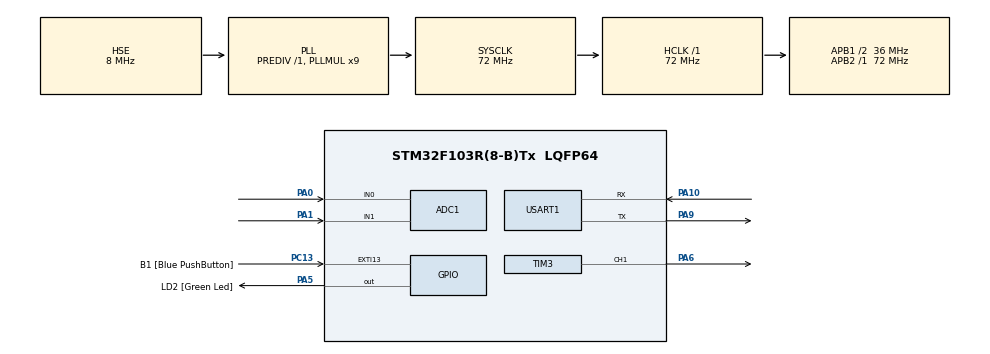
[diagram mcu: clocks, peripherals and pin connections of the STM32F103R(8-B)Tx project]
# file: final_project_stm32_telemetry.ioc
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ADC1.Channel-0\#ChannelRegularConversion=ADC_CHANNEL_0
ADC1.NbrOfConversionFlag=1
ADC1.Rank-0\#ChannelRegularConversion=1
ADC1.SamplingTime-0\#ChannelRegularConversion=ADC_SAMPLETIME_1CYCLE_5
ADC1.master=1
Mcu.Family=STM32F1
Mcu.Name=STM32F103R(8-B)Tx
Mcu.Package=LQFP64
NVIC.EXTI15_10_IRQn=true\:0\:0\:false\:false\:true\:true\:true\:true
NVIC.PriorityGroup=NVIC_PRIORITYGROUP_4
PA0-WKUP.Signal=ADCx_IN0
PA1.Signal=ADCx_IN1
PA10.Mode=Asynchronous
PA10.Signal=USART1_RX
PA13.GPIO_Label=TMS
PA13.Mode=Serial_Wire
PA13.Signal=SYS_JTMS-SWDIO
PA14.GPIO_Label=TCK
PA14.Mode=Serial_Wire
PA14.Signal=SYS_JTCK-SWCLK
PA2.GPIO_Label=USART_TX
PA2.GPIO_Mode=GPIO_MODE_AF_PP
PA2.GPIO_PuPd=GPIO_NOPULL
PA2.GPIO_Speed=GPIO_SPEED_FREQ_LOW
PA2.Signal=USART2_TX
PA3.GPIO_Label=USART_RX
PA3.GPIO_Mode=GPIO_MODE_AF_PP
PA3.GPIO_PuPd=GPIO_NOPULL
PA3.GPIO_Speed=GPIO_SPEED_FREQ_LOW
PA3.Signal=USART2_RX
PA5.GPIO_Label=LD2 [Green Led]
PA5.GPIO_ModeDefaultOutputPP=GPIO_MODE_OUTPUT_PP
PA5.GPIO_PuPd=GPIO_NOPULL
PA5.GPIO_Speed=GPIO_SPEED_FREQ_LOW
PA5.Signal=GPIO_Output
PA6.Signal=S_TIM3_CH1
PA9.Mode=Asynchronous
PA9.Signal=USART1_TX
PB3.GPIO_Label=SWO
PB3.Signal=SYS_JTDO-TRACESWO
PC13-TAMPER-RTC.GPIO_Label=B1 [Blue PushButton]
PC13-TAMPER-RTC.GPIO_PuPd=GPIO_NOPULL
PC13-TAMPER-RTC.Signal=GPXTI13
PC14-OSC32_IN.Mode=LSE-External-Oscillator
PC14-OSC32_IN.Signal=RCC_OSC32_IN
PC15-OSC32_OUT.Mode=LSE-External-Oscillator
PC15-OSC32_OUT.Signal=RCC_OSC32_OUT
PD0-OSC_IN.Mode=HSE-External-Clock-Source
PD0-OSC_IN.Signal=RCC_OSC_IN
PD1-OSC_OUT.Mode=HSE-External-Clock-Source
PD1-OSC_OUT.Signal=RCC_OSC_OUT
ProjectManager.HeapSize=0x200
ProjectManager.StackSize=0x400
ProjectManager.TargetToolchain=STM32CubeIDE
RCC.ADCPresc=RCC_ADCPCLK2_DIV6
RCC.AHBFreq_Value=72000000
RCC.APB1CLKDivider=RCC_HCLK_DIV2
RCC.APB1Freq_Value=36000000
RCC.APB1TimFreq_Value=72000000
RCC.APB2Freq_Value=72000000
RCC.APB2TimFreq_Value=72000000
RCC.HCLKFreq_Value=72000000
RCC.PLLMUL=RCC_PLL_MUL9
RCC.PLLSourceVirtual=RCC_PLLSOURCE_HSE
RCC.RTCClockSelection=RCC_RTCCLKSOURCE_LSE
RCC.SYSCLKFreq_VALUE=72000000
RCC.SYSCLKSource=RCC_SYSCLKSOURCE_PLLCLK
RCC.USBFreq_Value=72000000
SH.ADCx_IN0.0=ADC1_IN0,IN0
SH.ADCx_IN1.0=ADC1_IN1,IN1
SH.S_TIM3_CH1.0=TIM3_CH1,PWM Generation1 CH1
TIM3.Channel-PWM\ Generation1\ CH1=TIM_CHANNEL_1
TIM3.Period=999
TIM3.Prescaler=71
USART1.VirtualMode=VM_ASYNC
board=NUCLEO-F103RB

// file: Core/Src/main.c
/* USER CODE BEGIN Header */
/**
  ******************************************************************************
  * @file           : main.c
  * @brief          : Main program body
  *
  * This firmware reads a potentiometer using the ADC and uses the potentiometer
  * position to control the PWM duty cycle driving a fan. It also sends
  * telemetry over UART so the host can monitor voltage, potentiometer position,
  * and PWM output in real time.
  ******************************************************************************
  * @attention
  *
  * Copyright (c) 2026 STMicroelectronics.
  * All rights reserved.
  *
  * This software is licensed under terms that can be found in the LICENSE file
  * in the root directory of this software component.
  * If no LICENSE file comes with this software, it is provided AS-IS.
  *
  ******************************************************************************
  */
/* USER CODE END Header */

#include "main.h"

/* USER CODE BEGIN Includes */
#include <stdio.h>
#include <string.h>
/* USER CODE END Includes */

/* USER CODE BEGIN PD */
#define VREF                     3.3f
#define ADC_MAX                  4095.0f

// PWM and telemetry timing
#define PWM_FREQ_HZ              1000U
#define TELEMETRY_PERIOD_MS      100U

/* USER CODE END PD */

ADC_HandleTypeDef hadc1;   // ADC for analog measurements

TIM_HandleTypeDef htim3;   // Timer used for PWM generation

UART_HandleTypeDef huart1; // UART used for telemetry output

/* USER CODE BEGIN PV */
static char uart_msg[160];
static float pwm_pct = 0.0f;
/* USER CODE END PV */

void SystemClock_Config(void);
static void MX_GPIO_Init(void);
static void MX_ADC1_Init(void);
static void MX_TIM3_Init(void);
static void MX_USART1_UART_Init(void);

/* USER CODE BEGIN PFP */

// helpers functions
static uint32_t read_adc_channel(uint32_t channel);
static float adc_to_volts(uint32_t raw);
static float read_voltage_v(void);
static float read_pot_voltage_v(void);
static float read_pot_percent(void);
static void set_pwm_percent(float pct);
static void uart_send_line(const char *s);

/* USER CODE END PFP */

/* USER CODE BEGIN 0 */

/**
  * @brief Reads one ADC channel using polling.
  * @param channel ADC channel to read.
  * @retval Raw 12-bit ADC value (0 to 4095).
  * This helper reconfigures ADC1 each time so the same ADC can read
  * multiple analog inputs one at a time.
  */
static uint32_t read_adc_channel(uint32_t channel)
{
    ADC_ChannelConfTypeDef sConfig = {0};

    // Select which ADC channel to sample
    sConfig.Channel = channel;
    sConfig.Rank = ADC_REGULAR_RANK_1;
    sConfig.SamplingTime = ADC_SAMPLETIME_71CYCLES_5;

    if (HAL_ADC_ConfigChannel(&hadc1, &sConfig) != HAL_OK)
    {
        Error_Handler();
    }

    // Start conversion
    if (HAL_ADC_Start(&hadc1) != HAL_OK)
    {
        Error_Handler();
    }

    // Wait until the conversion finishes
    if (HAL_ADC_PollForConversion(&hadc1, HAL_MAX_DELAY) != HAL_OK)
    {
        Error_Handler();
    }

    // Read the conversion result
    uint32_t raw = HAL_ADC_GetValue(&hadc1);

    // Stop ADC after the one-shot conversion
    if (HAL_ADC_Stop(&hadc1) != HAL_OK)
    {
        Error_Handler();
    }

    return raw;
}

/**
  * @brief Converts a raw ADC count into volts.
  * @param raw 12-bit ADC result.
  * @retval Voltage at the ADC pin.
  *
  * Formula:
  * volts = raw * VREF / ADC_MAX
  */
static float adc_to_volts(uint32_t raw)
{
    return ((float)raw * VREF) / ADC_MAX;
}

// Reads a voltage on ADC channel 0.
// Voltage in volts.
static float read_voltage_v(void)
{
    uint32_t raw = read_adc_channel(ADC_CHANNEL_0);
    float adc_v = adc_to_volts(raw);
    return adc_v;
}

/**
  * @brief Reads potentiometer wiper voltage from ADC channel 1.
  * @retval Potentiometer voltage in volts.
  */
static float read_pot_voltage_v(void)
{
    uint32_t raw = read_adc_channel(ADC_CHANNEL_1);
    return adc_to_volts(raw);
}

/**
  * @brief Converts potentiometer voltage into 0 to 100 percent.
  * @retval Potentiometer position as a percentage.
  * 0 V   -> 0%
  * 3.3 V -> 100%
  */
static float read_pot_percent(void)
{
    float pot_v = read_pot_voltage_v();
    float pct = (pot_v / VREF) * 100.0f;

    // Clamp result for safety
    if (pct < 0.0f)
    {
        pct = 0.0f;
    }
    if (pct > 100.0f)
    {
        pct = 100.0f;
    }

    return pct;
}

/**
  * @brief Sets PWM duty cycle as a percentage.
  * @param pct Duty cycle from 0 to 100.
  * This converts a percent into the timer compare value
  * used by the STM32 PWM hardware.
  */
static void set_pwm_percent(float pct)
{
    if (pct < 0.0f)
    {
        pct = 0.0f;
    }
    if (pct > 100.0f)
    {
        pct = 100.0f;
    }

    // Save current PWM percentage so telemetry reports the same value
    pwm_pct = pct;

    // ARR determines the PWM period
    uint32_t arr = __HAL_TIM_GET_AUTORELOAD(&htim3);

    // Convert percent into compare value
    uint32_t compare = (uint32_t)((pct / 100.0f) * (float)(arr + 1U));

    // Update timer compare register
    __HAL_TIM_SET_COMPARE(&htim3, TIM_CHANNEL_1, compare);
}

/**
  * @brief Sends a text line over UART.
  * UART is used here for simple CSV telemetry output that can be parsed by
  * Pi 4.
  */
static void uart_send_line(const char *s)
{
    if (HAL_UART_Transmit(&huart1, (uint8_t *)s, strlen(s), HAL_MAX_DELAY) != HAL_OK)
    {
        Error_Handler();
    }
}
/* USER CODE END 0 */
int main(void)
{

  /* MCU Configuration--------------------------------------------------------*/

  /* Reset all peripherals and initialize HAL */
  HAL_Init();

  /* Configure the system clock */
  SystemClock_Config();

  /* Initialize all configured peripherals */
  MX_GPIO_Init();
  MX_ADC1_Init();
  MX_TIM3_Init();
  MX_USART1_UART_Init();

  /* USER CODE BEGIN 2 */

  // Start PWM output
  if (HAL_TIM_PWM_Start(&htim3, TIM_CHANNEL_1) != HAL_OK)
  {
      Error_Handler();
  }

  // Start fan at 0% until potentiometer is read
  set_pwm_percent(0.0f);

  // Send startup text and CSV header
  uart_send_line("# STM32 fan control telemetry start\r\n");
  uart_send_line("t_s,voltage_v,pot_voltage_v,pot_percent,pwm_pct,pwm_freq_hz\r\n");

  /* USER CODE END 2 */

  /* Infinite loop */
  /* USER CODE BEGIN WHILE */
  while (1)
  {
    // Time since boot in seconds
    float t_s = HAL_GetTick() / 1000.0f;

    // Read adc measurements */
    float voltage_v = read_voltage_v();
    float pot_voltage_v = read_pot_voltage_v();
    float pot_percent = read_pot_percent();

//      Fan control behavior:
//      The potentiometer directly controls PWM duty cycle.
//      More potentiometer voltage means higher PWM duty cycle means faster fan.
    set_pwm_percent(pot_percent);

    // Format telemetry as CSV
    snprintf(uart_msg, sizeof(uart_msg),
             "%.3f,%.3f,%.3f,%.1f,%.1f,%lu\r\n",
             t_s,
             voltage_v,
             pot_voltage_v,
             pot_percent,
             pwm_pct,
             (unsigned long)PWM_FREQ_HZ);

    // Send telemetry line
    uart_send_line(uart_msg);

    // Update every 100 ms
    HAL_Delay(TELEMETRY_PERIOD_MS);

    /* USER CODE END WHILE */

  }
}

void SystemClock_Config(void)
{
  RCC_OscInitTypeDef RCC_OscInitStruct = {0};
  RCC_ClkInitTypeDef RCC_ClkInitStruct = {0};
  RCC_PeriphCLKInitTypeDef PeriphClkInit = {0};

  RCC_OscInitStruct.OscillatorType = RCC_OSCILLATORTYPE_HSE;
  RCC_OscInitStruct.HSEState = RCC_HSE_BYPASS;
  RCC_OscInitStruct.HSEPredivValue = RCC_HSE_PREDIV_DIV1;
  RCC_OscInitStruct.HSIState = RCC_HSI_ON;
  RCC_OscInitStruct.PLL.PLLState = RCC_PLL_ON;
  RCC_OscInitStruct.PLL.PLLSource = RCC_PLLSOURCE_HSE;
  RCC_OscInitStruct.PLL.PLLMUL = RCC_PLL_MUL9;
  if (HAL_RCC_OscConfig(&RCC_OscInitStruct) != HAL_OK)
  {
    Error_Handler();
  }

  /* Set AHB/APB clocks */
  RCC_ClkInitStruct.ClockType = RCC_CLOCKTYPE_HCLK|RCC_CLOCKTYPE_SYSCLK
                              |RCC_CLOCKTYPE_PCLK1|RCC_CLOCKTYPE_PCLK2;
  RCC_ClkInitStruct.SYSCLKSource = RCC_SYSCLKSOURCE_PLLCLK;
  RCC_ClkInitStruct.AHBCLKDivider = RCC_SYSCLK_DIV1;
  RCC_ClkInitStruct.APB1CLKDivider = RCC_HCLK_DIV2;
  RCC_ClkInitStruct.APB2CLKDivider = RCC_HCLK_DIV1;

  if (HAL_RCC_ClockConfig(&RCC_ClkInitStruct, FLASH_LATENCY_2) != HAL_OK)
  {
    Error_Handler();
  }

  /* ADC clock divider */
  PeriphClkInit.PeriphClockSelection = RCC_PERIPHCLK_ADC;
  PeriphClkInit.AdcClockSelection = RCC_ADCPCLK2_DIV6;
  if (HAL_RCCEx_PeriphCLKConfig(&PeriphClkInit) != HAL_OK)
  {
    Error_Handler();
  }
}

static void MX_ADC1_Init(void)
{
  ADC_ChannelConfTypeDef sConfig = {0};

  hadc1.Instance = ADC1;
  hadc1.Init.ScanConvMode = ADC_SCAN_DISABLE;
  hadc1.Init.ContinuousConvMode = DISABLE;
  hadc1.Init.DiscontinuousConvMode = DISABLE;
  hadc1.Init.ExternalTrigConv = ADC_SOFTWARE_START;
  hadc1.Init.DataAlign = ADC_DATAALIGN_RIGHT;
  hadc1.Init.NbrOfConversion = 1;
  if (HAL_ADC_Init(&hadc1) != HAL_OK)
  {
    Error_Handler();
  }

  /*
   * Initial channel configuration.
   * The actual channel used at runtime is selected in read_adc_channel().
   */
  sConfig.Channel = ADC_CHANNEL_0;
  sConfig.Rank = ADC_REGULAR_RANK_1;
  sConfig.SamplingTime = ADC_SAMPLETIME_1CYCLE_5;
  if (HAL_ADC_ConfigChannel(&hadc1, &sConfig) != HAL_OK)
  {
    Error_Handler();
  }
}

static void MX_TIM3_Init(void)
{
  TIM_MasterConfigTypeDef sMasterConfig = {0};
  TIM_OC_InitTypeDef sConfigOC = {0};

  htim3.Instance = TIM3;
  htim3.Init.Prescaler = 71;
  htim3.Init.CounterMode = TIM_COUNTERMODE_UP;
  htim3.Init.Period = 999;
  htim3.Init.ClockDivision = TIM_CLOCKDIVISION_DIV1;
  htim3.Init.AutoReloadPreload = TIM_AUTORELOAD_PRELOAD_DISABLE;
  if (HAL_TIM_PWM_Init(&htim3) != HAL_OK)
  {
    Error_Handler();
  }

  sMasterConfig.MasterOutputTrigger = TIM_TRGO_RESET;
  sMasterConfig.MasterSlaveMode = TIM_MASTERSLAVEMODE_DISABLE;
  if (HAL_TIMEx_MasterConfigSynchronization(&htim3, &sMasterConfig) != HAL_OK)
  {
    Error_Handler();
  }

  sConfigOC.OCMode = TIM_OCMODE_PWM1;
  sConfigOC.Pulse = 0;
  sConfigOC.OCPolarity = TIM_OCPOLARITY_HIGH;
  sConfigOC.OCFastMode = TIM_OCFAST_DISABLE;
  if (HAL_TIM_PWM_ConfigChannel(&htim3, &sConfigOC, TIM_CHANNEL_1) != HAL_OK)
  {
    Error_Handler();
  }

  HAL_TIM_MspPostInit(&htim3);
}

static void MX_USART1_UART_Init(void)
{
  huart1.Instance = USART1;
  huart1.Init.BaudRate = 115200;
  huart1.Init.WordLength = UART_WORDLENGTH_8B;
  huart1.Init.StopBits = UART_STOPBITS_1;
  huart1.Init.Parity = UART_PARITY_NONE;
  huart1.Init.Mode = UART_MODE_TX_RX;
  huart1.Init.HwFlowCtl = UART_HWCONTROL_NONE;
  huart1.Init.OverSampling = UART_OVERSAMPLING_16;
  if (HAL_UART_Init(&huart1) != HAL_OK)
  {
    Error_Handler();
  }
}

static void MX_GPIO_Init(void)
{
  GPIO_InitTypeDef GPIO_InitStruct = {0};

  /* GPIO Ports Clock Enable */
  __HAL_RCC_GPIOC_CLK_ENABLE();
  __HAL_RCC_GPIOD_CLK_ENABLE();
  __HAL_RCC_GPIOA_CLK_ENABLE();
  __HAL_RCC_GPIOB_CLK_ENABLE();

  /* Configure LED default state */
  HAL_GPIO_WritePin(LD2_GPIO_Port, LD2_Pin, GPIO_PIN_RESET);

  /* Configure push button */
  GPIO_InitStruct.Pin = B1_Pin;
  GPIO_InitStruct.Mode = GPIO_MODE_IT_RISING;
  GPIO_InitStruct.Pull = GPIO_NOPULL;
  HAL_GPIO_Init(B1_GPIO_Port, &GPIO_InitStruct);

  /* Configure UART pins */
  GPIO_InitStruct.Pin = USART_TX_Pin | USART_RX_Pin;
  GPIO_InitStruct.Mode = GPIO_MODE_AF_PP;
  GPIO_InitStruct.Speed = GPIO_SPEED_FREQ_LOW;
  HAL_GPIO_Init(GPIOA, &GPIO_InitStruct);

  /* Configure LED pin */
  GPIO_InitStruct.Pin = LD2_Pin;
  GPIO_InitStruct.Mode = GPIO_MODE_OUTPUT_PP;
  GPIO_InitStruct.Pull = GPIO_NOPULL;
  GPIO_InitStruct.Speed = GPIO_SPEED_FREQ_LOW;
  HAL_GPIO_Init(LD2_GPIO_Port, &GPIO_InitStruct);

  /* EXTI interrupt init */
  HAL_NVIC_SetPriority(EXTI15_10_IRQn, 0, 0);
  HAL_NVIC_EnableIRQ(EXTI15_10_IRQn);
}

void Error_Handler(void)
{
  __disable_irq();
  while (1)
  {
  }
}
